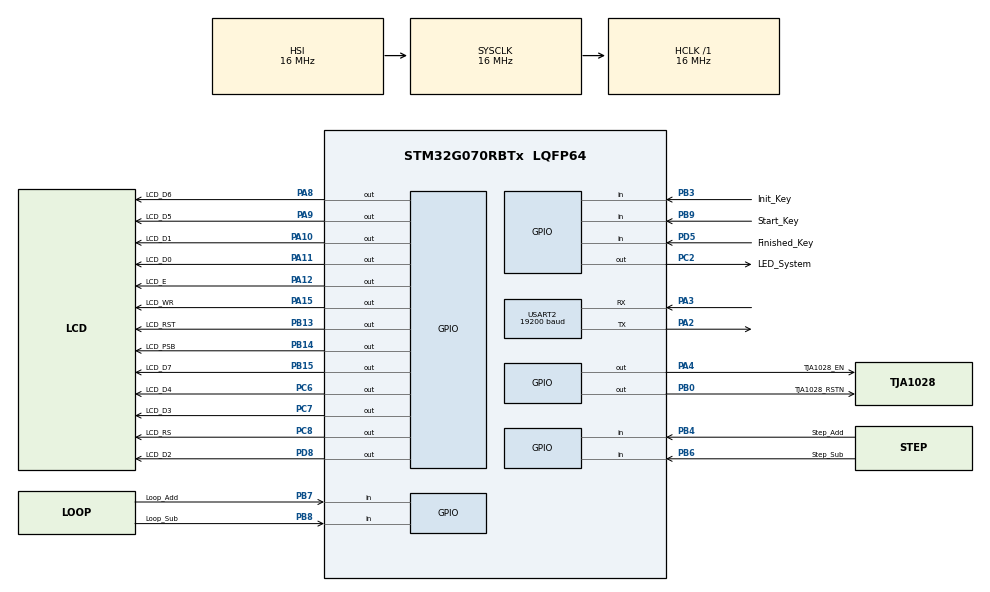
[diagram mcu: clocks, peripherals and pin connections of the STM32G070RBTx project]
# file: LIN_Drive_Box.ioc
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Mcu.Family=STM32G0
Mcu.Name=STM32G070RBTx
Mcu.Package=LQFP64
NVIC.TIM6_IRQn=true\:0\:0\:false\:false\:true\:true\:true\:true
NVIC.USART2_IRQn=true\:0\:0\:false\:false\:true\:true\:true\:true
PA10.GPIO_Label=LCD_D1
PA10.Signal=GPIO_Output
PA11\ [PA9].GPIO_Label=LCD_D0
PA11\ [PA9].Signal=GPIO_Output
PA12\ [PA10].GPIO_Label=LCD_E
PA12\ [PA10].Signal=GPIO_Output
PA13.Mode=Serial_Wire
PA13.Signal=SYS_SWDIO
PA14-BOOT0.Mode=Serial_Wire
PA14-BOOT0.Signal=SYS_SWCLK
PA15.GPIO_Label=LCD_WR
PA15.Signal=GPIO_Output
PA2.Mode=LIN
PA2.Signal=USART2_TX
PA3.Mode=LIN
PA3.Signal=USART2_RX
PA4.GPIO_Label=TJA1028_EN
PA4.Signal=GPIO_Output
PA8.GPIO_Label=LCD_D6
PA8.Signal=GPIO_Output
PA9.GPIO_Label=LCD_D5
PA9.Signal=GPIO_Output
PB0.GPIO_Label=TJA1028_RSTN
PB0.Signal=GPIO_Output
PB13.GPIO_Label=LCD_RST
PB13.Signal=GPIO_Output
PB14.GPIO_Label=LCD_PSB
PB14.Signal=GPIO_Output
PB15.GPIO_Label=LCD_D7
PB15.Signal=GPIO_Output
PB3.GPIO_Label=Init_Key
PB3.Signal=GPIO_Input
PB4.GPIO_Label=Step_Add
PB4.Signal=GPIO_Input
PB6.GPIO_Label=Step_Sub
PB6.Signal=GPIO_Input
PB7.GPIO_Label=Loop_Add
PB7.Signal=GPIO_Input
PB8.GPIO_Label=Loop_Sub
PB8.Signal=GPIO_Input
PB9.GPIO_Label=Start_Key
PB9.Signal=GPIO_Input
PC2.GPIO_Label=LED_System
PC2.Signal=GPIO_Output
PC6.GPIO_Label=LCD_D4
PC6.Signal=GPIO_Output
PC7.GPIO_Label=LCD_D3
PC7.Signal=GPIO_Output
PC8.GPIO_Label=LCD_RS
PC8.Signal=GPIO_Output
PD5.GPIO_Label=Finished_Key
PD5.Signal=GPIO_Input
PD8.GPIO_Label=LCD_D2
PD8.Signal=GPIO_Output
ProjectManager.HeapSize=0x200
ProjectManager.StackSize=0x400
ProjectManager.TargetToolchain=STM32CubeIDE
RCC.AHBFreq_Value=16000000
RCC.CortexFreq_Value=16000000
RCC.EXTERNAL_CLOCK_VALUE=48000
RCC.HCLKFreq_Value=16000000
RCC.HSE_VALUE=8000000
RCC.HSI_VALUE=16000000
RCC.LSE_VALUE=32768
RCC.SYSCLKFreq_VALUE=16000000
RCC.VCOOutputFreq_Value=128000000
TIM6.AutoReloadPreload=TIM_AUTORELOAD_PRELOAD_ENABLE
TIM6.Period=60000-1
TIM6.Prescaler=16000-1
USART2.BaudRate=19200
USART2.VirtualMode-LIN=VM_LIN
VP_SYS_VS_DBSignals.Mode=DisableDeadBatterySignals
VP_TIM6_VS_ClockSourceINT.Mode=Enable_Timer
board=custom

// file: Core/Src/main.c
/* USER CODE BEGIN Header */
/**
  ******************************************************************************
  * @file           : main.c
  * @brief          : Main program body
  ******************************************************************************
  * @attention
  *
  * Copyright (c) 2023 STMicroelectronics.
  * All rights reserved.
  *
  * This software is licensed under terms that can be found in the LICENSE file
  * in the root directory of this software component.
  * If no LICENSE file comes with this software, it is provided AS-IS.
  *
  ******************************************************************************
  */
/* USER CODE END Header */
#include "main.h"
#include "tim.h"
#include "usart.h"
#include "gpio.h"

/* USER CODE BEGIN Includes */
#include "key.h"
#include "LIN.h"
#include "12864.h"
/* USER CODE END Includes */

/* USER CODE BEGIN PV */
uint8_t RevByte = 0;
uint8_t pRevByte = 0;
uint8_t RxFlag = 0;
uint8_t RxLength = 0;
uint8_t selectMode = 1;
uint8_t timer = 0;
uint8_t powerOn = DISABLE;
uint8_t patternCycleNumber = 0;
/* USER CODE END PV */

void SystemClock_Config(void);

int main(void)
{

  /* MCU Configuration--------------------------------------------------------*/

  /* Reset of all peripherals, Initializes the Flash interface and the Systick. */
  HAL_Init();

  /* Configure the system clock */
  SystemClock_Config();

  /* USER CODE BEGIN SysInit */
    //解决断电后重新上电，程序运行异常的问题
    //原因：在程序刚开始时加上一个延时，因为外设上电时间不够，所以加个延时，等待外设上电，再进行初始化
    HAL_Delay(700);
  /* USER CODE END SysInit */

  /* Initialize all configured peripherals */
  MX_GPIO_Init();
  MX_USART2_UART_Init();
  MX_TIM6_Init();
  /* USER CODE BEGIN 2 */
    //一定要先清除串口空闲中断，然后在打开串口空闲中断，因为串口初始化完成后会自动将IDLE置位，
    // 导致还没有接受数据就进入到中断里面去了，所以打开IDLE之前，先把它清楚掉
    //清除串口空闲中断
    __HAL_UART_CLEAR_IDLEFLAG(&huart2);
    //打开串口空闲中断
    __HAL_UART_ENABLE_IT(&huart2,UART_IT_IDLE);
    //开启中断接收
    Util_Receive_IT(&huart2);
    //使能更新中断
    HAL_TIM_Base_Start_IT(&htim6);
    //启动定时器
    HAL_TIM_Base_Start(&htim6);
    //使能系统运行指示灯
    HAL_GPIO_WritePin(LED_System_GPIO_Port,LED_System_Pin,GPIO_PIN_SET);
    //使能TJA1028LIN芯片的EN
    HAL_GPIO_WritePin(TJA1028_EN_GPIO_Port,TJA1028_EN_Pin,GPIO_PIN_SET);
    //使能TJA1028LIN芯片的RSTN
    HAL_GPIO_WritePin(TJA1028_RSTN_GPIO_Port,TJA1028_RSTN_Pin,GPIO_PIN_SET);
    LCDInit();
    //初始化数据
    timer = 0;
    InfiniteLoop = 1;
    currentStepSize = 480;
    currentCycleCount = 61000;
    patternCycleNumber = 0;
    Data_To_LIN(currentStepSize,currentCycleCount,0);
  /* USER CODE END 2 */

  /* Infinite loop */
  while (1)
  {

      //显示屏刷新
      if (powerOn && patternCycleNumber < MODE_CYCLE_TIMES_SET_VALUE)
      {
          DisplayChineseCharacter(FIRST_LINE + 3,operation,sizeof(operation) / sizeof(uint8_t));
      }
      else
      {
          DisplayChineseCharacter(FIRST_LINE + 3,stop,sizeof(stop) / sizeof(uint8_t));
      }
      DisplayCharacter(SECOND_LINE + 3,timer,3);
      DisplayCharacter(FOURTH_LINE + 5,selectMode,1);
      DisplayCharacter(FIRST_LINE + 7,patternCycleNumber,2);
      //检测开始按钮（模式1）
      if (General_Key_Scan(Start_Key_GPIO_Port,Start_Key_Pin))
      {
          selectMode = 1;
          powerOn = ENABLE;
          timer = 0;
          patternCycleNumber = 0;
          //定时器计数清零
          __HAL_TIM_SET_COUNTER(&htim6,0);
          DisplayChineseCharacter(THIRD_LINE,"                ", strlen("                "));
      }
      //检测结束按钮（模式2）
      if (General_Key_Scan(Finished_Key_GPIO_Port,Finished_Key_Pin))
      {
          selectMode = 2;
          powerOn = ENABLE;
          timer = 0;
          patternCycleNumber = 0;
          //定时器计数清零
          __HAL_TIM_SET_COUNTER(&htim6,0);
          DisplayChineseCharacter(THIRD_LINE,"                ", strlen("                "));
      }
      //检测步数加按钮（模式3）
      if (General_Key_Scan(Step_Add_GPIO_Port,Step_Add_Pin))
      {
          selectMode = 3;
          powerOn = ENABLE;
          timer = 0;
          patternCycleNumber = 0;
          //定时器计数清零
          __HAL_TIM_SET_COUNTER(&htim6,0);
          DisplayChineseCharacter(THIRD_LINE,"                ", strlen("                "));
      }
      //循环发送数据
      if(powerOn && patternCycleNumber < MODE_CYCLE_TIMES_SET_VALUE)
      {
          Send_LIN_Data();
      }
      if (RxFlag)
      {
          LIN_Data_Process(RxLength);
          RxFlag = 0;
      }
  }
}

void SystemClock_Config(void)
{
  RCC_OscInitTypeDef RCC_OscInitStruct = {0};
  RCC_ClkInitTypeDef RCC_ClkInitStruct = {0};

  /** Configure the main internal regulator output voltage
  */
  HAL_PWREx_ControlVoltageScaling(PWR_REGULATOR_VOLTAGE_SCALE1);

  /** Initializes the RCC Oscillators according to the specified parameters
  * in the RCC_OscInitTypeDef structure.
  */
  RCC_OscInitStruct.OscillatorType = RCC_OSCILLATORTYPE_HSI;
  RCC_OscInitStruct.HSIState = RCC_HSI_ON;
  RCC_OscInitStruct.HSIDiv = RCC_HSI_DIV1;
  RCC_OscInitStruct.HSICalibrationValue = RCC_HSICALIBRATION_DEFAULT;
  RCC_OscInitStruct.PLL.PLLState = RCC_PLL_NONE;
  if (HAL_RCC_OscConfig(&RCC_OscInitStruct) != HAL_OK)
  {
    Error_Handler();
  }

  /** Initializes the CPU, AHB and APB buses clocks
  */
  RCC_ClkInitStruct.ClockType = RCC_CLOCKTYPE_HCLK|RCC_CLOCKTYPE_SYSCLK
                              |RCC_CLOCKTYPE_PCLK1;
  RCC_ClkInitStruct.SYSCLKSource = RCC_SYSCLKSOURCE_HSI;
  RCC_ClkInitStruct.AHBCLKDivider = RCC_SYSCLK_DIV1;
  RCC_ClkInitStruct.APB1CLKDivider = RCC_HCLK_DIV1;

  if (HAL_RCC_ClockConfig(&RCC_ClkInitStruct, FLASH_LATENCY_0) != HAL_OK)
  {
    Error_Handler();
  }
}

/* USER CODE BEGIN 4 */
/**
* 重写接收中断函数
*/
void Util_Receive_IT(UART_HandleTypeDef *huart)
{
    if(huart == &huart2)
    {
        if(HAL_UART_Receive_IT(huart, &RevByte, 1) != HAL_OK)
        {
            Error_Handler();
        }
    }
}

/**
 * 接收中断回调函数，每次接收一个字节
 * huart2每次只接受1个字节的数据，通过串口空闲中断来判断数据是否传输结束
 *
 * @brief Rx Transfer completed callback.
 * @param huart UART handle.
 * @retval None
 */
void HAL_UART_RxCpltCallback(UART_HandleTypeDef *huart)
{
    //LIN数据
    if(huart == &huart2)
    {
        pLINRxBuff[pRevByte] = RevByte;
        pRevByte++;
    }
    Util_Receive_IT(huart);
}

//串口空闲中断
void UART_IDLECallBack(UART_HandleTypeDef *huart)
{
    if(huart == &huart2)
    {
        if((__HAL_UART_GET_FLAG(huart,UART_FLAG_IDLE) != RESET))
        {
            __HAL_UART_CLEAR_IDLEFLAG(&huart2);//清除标志位
            RxFlag = 1;
            RxLength = pRevByte;
            pRevByte = 0;
        }
    }
}

/**
 * 重写UART错误中断处理程序，重新开启USART中断
 *
 * @brief UART error callback.
 * @param huart UART handle.
 * @retval None
 */
void HAL_UART_ErrorCallback(UART_HandleTypeDef *huart)
{
    /* Prevent unused argument(s) compilation warning */
    //解决串口溢出，导致不断进入串口中断函数，使MCU过载的问题
    if(HAL_UART_GetError(huart) & HAL_UART_ERROR_ORE)
    {
        //清除ORE标志位
        __HAL_UART_FLUSH_DRREGISTER(huart);
        Util_Receive_IT(huart);
        huart->ErrorCode = HAL_UART_ERROR_NONE;
    }
}

/**
 * 定时器中断回调函数-1分钟中断一次
 * @param htim
 */
void HAL_TIM_PeriodElapsedCallback(TIM_HandleTypeDef *htim)
{
    if(htim->Instance == htim6.Instance && patternCycleNumber < MODE_CYCLE_TIMES_SET_VALUE)
    {
        timer++;
        if(selectMode == 1 && timer == 60)
        {
            stateReversal(&powerOn);
            timer = 0;
        }
        if (selectMode == 2 && powerOn == ENABLE && timer == 1){
            powerOn = DISABLE;
            timer = 0;
        }
        if (selectMode == 2 && powerOn == DISABLE && timer == 240){
            powerOn = ENABLE;
            timer = 0;
        }
        if(selectMode == 3 && powerOn == ENABLE && timer == 350){
            powerOn = DISABLE;
            timer = 0;
        }
        if(selectMode == 3 && powerOn == DISABLE && timer == 130){
            powerOn = ENABLE;
            timer = 0;
            patternCycleNumber++;
        }
    }
}

/**
 * 不推荐在中断里使用延时函数
 * 在实际应用中发现，在STM32的中断里使用延时函数HAL_Delay(Delay)容易出现问题（与SysTick中断的优先级），故采用while(t--)代替延时函数
 * 12864显示屏的写操作中使用了HAL_Delay(Delay)函数，导致程序卡在延时函数无法跳出来
 * @param t_ms
 */
void ms_Delay(uint16_t t_ms)
{
    uint32_t t = t_ms * 3127;
    while (t--);
}

/**
 * 状态反转
 * @param state
 */
void stateReversal(uint8_t *state)
{
    if (*state == DISABLE)
    {
        *state = ENABLE;
    }
    else
    {
        *state = DISABLE;
    }
}
/* USER CODE END 4 */

void Error_Handler(void)
{
  __disable_irq();
  while (1)
  {
  }
}
